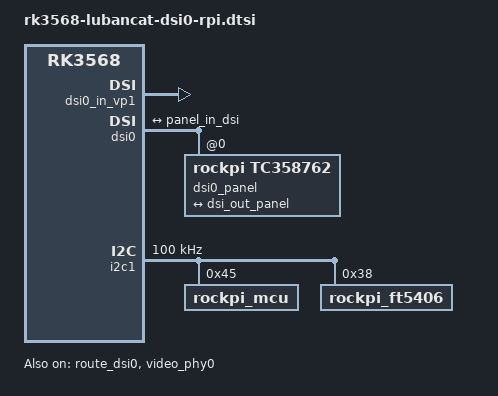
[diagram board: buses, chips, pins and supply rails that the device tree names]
// SPDX-License-Identifier: (GPL-2.0+ OR MIT)
&route_dsi0 {
	status = "okay";
	connect = <&vp1_out_dsi0>;
};

&video_phy0 {
	status = "okay";
};

&dsi0_in_vp0 {
	status = "disabled";
};

&dsi0_in_vp1 {
	status = "okay";
};

&dsi0 {
	status = "okay";
	power-supply = <&mipi_dsi0_power>;

	dsi0_panel: panel@0 {
		compatible = "rockpi,tc358762";
		reg = <0x0>;
		status = "okay";

		ports {
			#address-cells = <1>;
			#size-cells = <0>;
			port@0 {
				reg = <0>;
				panel_in_dsi: endpoint {
					remote-endpoint = <&dsi_out_panel>;
				};
			};
		};
	};

	ports {
		#address-cells = <1>;
		#size-cells = <0>;

		port@1 {
			reg = <1>;
			dsi_out_panel: endpoint {
				remote-endpoint = <&panel_in_dsi>;
			};
		};
	};
};

&i2c1 {
	status = "okay";
	clock-frequency = <100000>;

	rockpi_mcu: rockpi-mcu@45 {
		compatible = "rockpi_mcu";
		reg = <0x45>;
		status = "okay";
	};

	rockpi_ft5406: rockpi_ft5406@38 {
		compatible = "rockpi_ft5406";
		reg = <0x38>;
		status = "okay";
	};
};
